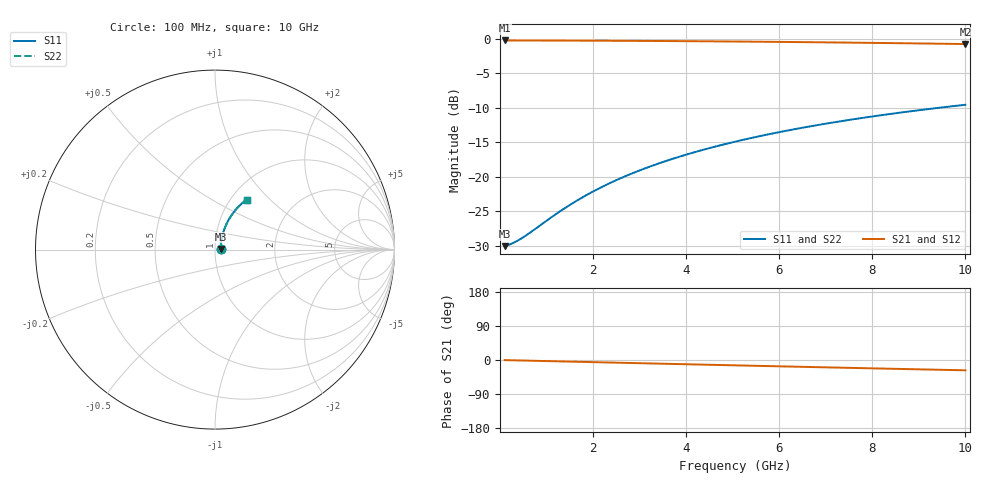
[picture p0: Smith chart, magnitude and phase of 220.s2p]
# Hz S RI R 50.00
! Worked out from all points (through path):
!   100 points, 100 MHz to 10 GHz, reference 50 ohm
!   highest |S21| = -0.27 dB at 100 MHz (marker M1); lowest = -0.8 dB at 10 GHz (marker M2)
!   group delay of S21, straight-line fit = 7.57 ps
!   lowest |S11| = -30.1 dB at 100 MHz (marker M3), VSWR 1.06, Z = 53.2 + j0.363 ohm
!   |S11| at or under -10 dB: start of sweep to 9.473 GHz
!   |S22| runs from -30.1 to -9.6 dB; largest |S21 - S12| = 1e-12
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1e8  0.0311 0.00341  0.9689 -0.00477  0.9689 -0.00477  0.0311 0.00341
2e8  0.0314 0.00681  0.9686 -0.00954  0.9686 -0.00954  0.0314 0.00681
3e8  0.0316 0.0102  0.9684 -0.0143  0.9684 -0.0143  0.0316 0.0102
4e8  0.0318 0.0136  0.9681 -0.0191  0.9681 -0.0191  0.0318 0.0136
5e8  0.0321 0.017  0.9679 -0.0238  0.9679 -0.0238  0.0321 0.017
1.3e9  0.035 0.044  0.9648 -0.0618  0.9648 -0.0618  0.035 0.044
1.5e9  0.0361 0.0507  0.9637 -0.0712  0.9637 -0.0712  0.0361 0.0507
1.8e9  0.0378 0.0607  0.9618 -0.0854  0.9618 -0.0854  0.0378 0.0607
2.1e9  0.0399 0.0707  0.9597 -0.0994  0.9597 -0.0994  0.0399 0.0707
2.5e9  0.043 0.0838  0.9563 -0.118  0.9563 -0.118  0.043 0.0838
2.9e9  0.0467 0.0968  0.9525 -0.1364  0.9525 -0.1364  0.0467 0.0968
3.4e9  0.052 0.1127  0.9469 -0.1592  0.9469 -0.1592  0.052 0.1127
3.8e9  0.0567 0.1252  0.9419 -0.1772  0.9419 -0.1772  0.0567 0.1252
4.2e9  0.0619 0.1375  0.9364 -0.195  0.9364 -0.195  0.0619 0.1375
4.6e9  0.0675 0.1495  0.9304 -0.2125  0.9304 -0.2125  0.0675 0.1495
5.1e9  0.0752 0.1642  0.9223 -0.234  0.9223 -0.234  0.0752 0.1642
5.9e9  0.0887 0.1866  0.9079 -0.2675  0.9079 -0.2675  0.0887 0.1866
6.7e9  0.1038 0.2077  0.8918 -0.2997  0.8918 -0.2997  0.1038 0.2077
7.5e9  0.1202 0.2274  0.8743 -0.3304  0.8743 -0.3304  0.1202 0.2274
8.4e9  0.1401 0.2478  0.853 -0.3633  0.853 -0.3633  0.1401 0.2478
9.2e9  0.1588 0.2643  0.8329 -0.3909  0.8329 -0.3909  0.1588 0.2643
1e10  0.1784 0.2791  0.8118 -0.4169  0.8118 -0.4169  0.1784 0.2791
